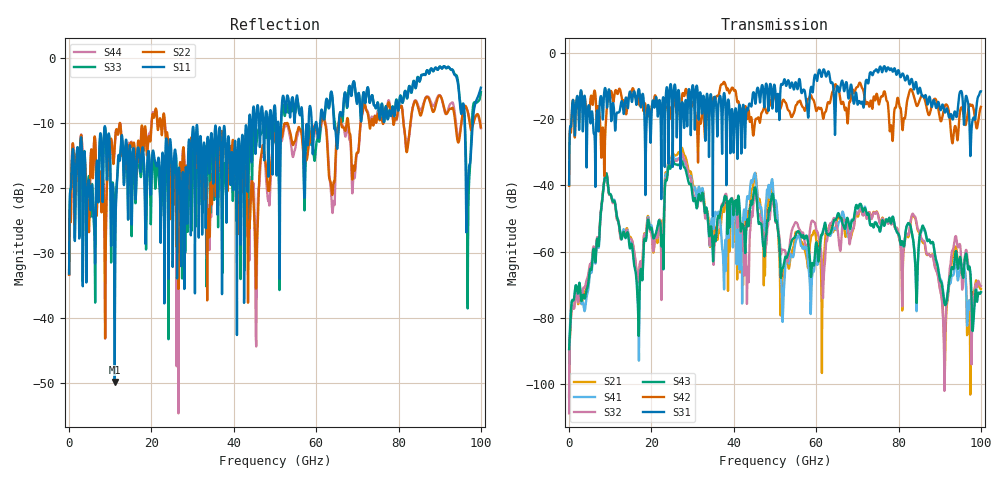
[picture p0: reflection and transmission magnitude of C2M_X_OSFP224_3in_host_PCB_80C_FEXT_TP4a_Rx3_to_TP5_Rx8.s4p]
# GHz S RI R 45
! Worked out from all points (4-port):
!   4000 points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, 25 MHz to 100 GHz, reference 45 ohm
!   strongest paths, dB at 25 MHz, 25.02 GHz, 50.02 GHz, 75.03 GHz, 100 GHz:
!     S31: -39.7, -15.6, -10.6, -5.9, -11.5
!     S42: -40.1, -16.1, -13.5, -14.1, -16.2
!     S43: -89.5, -32.6, -49.9, -52.5, -72.2
!     S32: -108.8, -31.9, -49.9, -49.0, -70.4
!     S41: -104.3, -31.2, -44.5, -52.3, -72.3
!     S21: -103.8, -30.5, -45.5, -48.8, -71.3
!   lowest |S11| = -49.8 dB at 11.1 GHz (marker M1), VSWR 1.01, Z = 44.9 + j0.285 ohm
!   |S11| at or under -10 dB: start of sweep to 43.7 GHz; 56.74 GHz to 58.18 GHz (1.445 GHz wide, 2.51 % of centre); 96.08 GHz to 98 GHz (1.925 GHz wide, 1.98 % of centre)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
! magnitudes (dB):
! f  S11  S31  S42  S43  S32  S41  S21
! 25 MHz  -33.1  -39.7  -40.1  -89.5  -108.8  -104.3  -103.8
! 11.1 GHz  -49.8  -21.6  -12.0  -44.9  -45.2  -44.6  -44.9
! 16.75 GHz  -13.7  -11.7  -13.3  -77.3  -68.6  -74.2  -69.3
! 25.4 GHz  -17.4  -12.9  -15.2  -32.9  -32.2  -31.3  -30.6
! 49.2 GHz  -10.7  -12.6  -13.5  -43.4  -45.1  -38.5  -40.7
! 51.9 GHz  -5.8  -9.5  -14.3  -64.9  -59.4  -80.1  -67.0
! 100 GHz  -4.5  -11.5  -16.2  -72.2  -70.4  -72.3  -71.3
